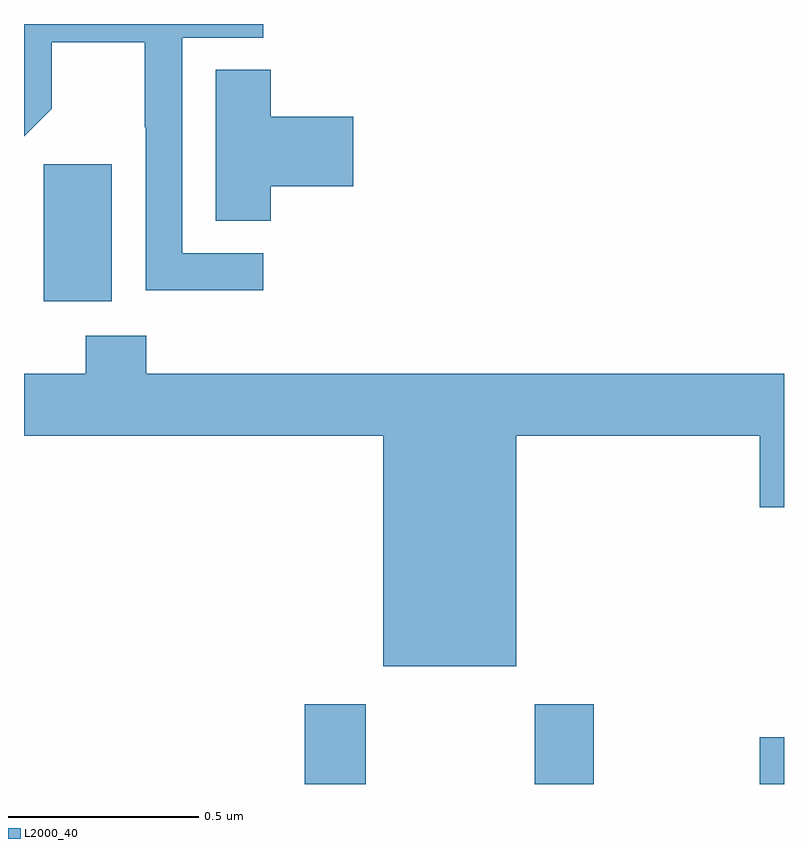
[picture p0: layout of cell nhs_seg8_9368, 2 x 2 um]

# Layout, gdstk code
import gdstk
lib = gdstk.Library(unit=1e-6, precision=1e-09)
def R(c, l, rs):  # rectangles x0, y0, x1, y1
    for r in rs: c.add(gdstk.rectangle(r[:2], r[2:], *l))
def P(c, l, *ps):  # polygons
    for p in ps: c.add(gdstk.Polygon(p, *l))
L2000_40 = (2000, 40)

nhs_seg8_9368 = lib.new_cell('nhs_seg8_9368')
R(nhs_seg8_9368, L2000_40, [(235.739,1132.9,235.899,1133.11), (236.344,1132.9,236.499,1133.11), (236.936,1132.9,237,1133.023), (235.052,1134.17,235.231,1134.531)])
P(nhs_seg8_9368, L2000_40, [(235.63,1134.297),(235.416,1134.297),(235.416,1134.864),(235.63,1134.864),(235.63,1134.9),(235,1134.9),(235,1134.604),(235.073,1134.677),(235.073,1134.852),(235.318,1134.852),(235.318,1134.628),(235.32,1134.628),(235.32,1134.199),(235.63,1134.199)],
  [(235.649,1134.473),(235.867,1134.473),(235.867,1134.656),(235.649,1134.656),(235.649,1134.779),(235.505,1134.779),(235.505,1134.382),(235.649,1134.382)],
  [(236.296,1133.816),(236.936,1133.816),(236.936,1133.628),(237,1133.628),(237,1133.98),(235.322,1133.98),(235.322,1134.079),(235.162,1134.079),(235.162,1133.98),(235,1133.98),(235,1133.816),(235.946,1133.816),(235.946,1133.21),(236.296,1133.21)])

lib.write_gds('nhs_seg8_9368.gds')
